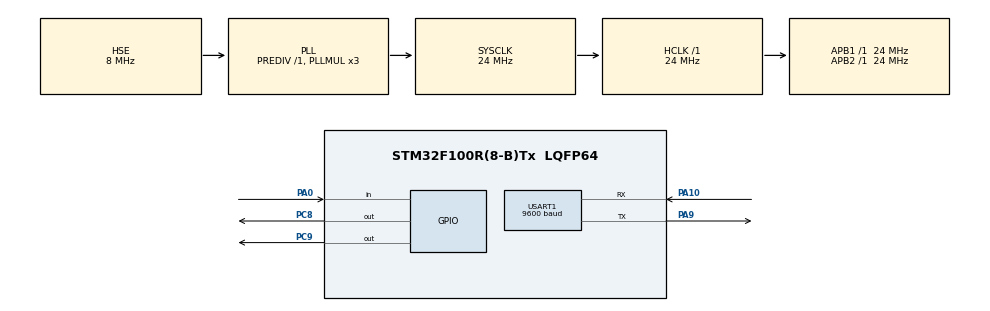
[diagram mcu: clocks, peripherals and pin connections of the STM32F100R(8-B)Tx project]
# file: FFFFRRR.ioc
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Dma.Request0=USART1_RX
Dma.Request1=USART1_TX
Dma.USART1_RX.0.Direction=DMA_PERIPH_TO_MEMORY
Dma.USART1_RX.0.Instance=DMA1_Channel5
Dma.USART1_RX.0.MemDataAlignment=DMA_MDATAALIGN_BYTE
Dma.USART1_RX.0.MemInc=DMA_MINC_ENABLE
Dma.USART1_RX.0.Mode=DMA_CIRCULAR
Dma.USART1_RX.0.PeriphDataAlignment=DMA_PDATAALIGN_BYTE
Dma.USART1_RX.0.PeriphInc=DMA_PINC_DISABLE
Dma.USART1_RX.0.Priority=DMA_PRIORITY_VERY_HIGH
Dma.USART1_TX.1.Direction=DMA_MEMORY_TO_PERIPH
Dma.USART1_TX.1.Instance=DMA1_Channel4
Dma.USART1_TX.1.MemDataAlignment=DMA_MDATAALIGN_BYTE
Dma.USART1_TX.1.MemInc=DMA_MINC_ENABLE
Dma.USART1_TX.1.Mode=DMA_NORMAL
Dma.USART1_TX.1.PeriphDataAlignment=DMA_PDATAALIGN_BYTE
Dma.USART1_TX.1.PeriphInc=DMA_PINC_DISABLE
Dma.USART1_TX.1.Priority=DMA_PRIORITY_MEDIUM
FREERTOS.HEAP_NUMBER=1
FREERTOS.MEMORY_ALLOCATION=0
FREERTOS.Tasks01=LCDPrint,0,128,StartLCDPrint,Default,NULL,Dynamic,NULL,NULL;UART_DMAParser,-2,128,StartUART_DMAParser,Default,NULL,Dynamic,NULL,NULL;NMEAParser,0,128,StartNMEAParser,Default,NULL,Dynamic,NULL,NULL
FREERTOS.configGENERATE_RUN_TIME_STATS=1
FREERTOS.configUSE_STATS_FORMATTING_FUNCTIONS=1
FREERTOS.configUSE_TRACE_FACILITY=1
Mcu.Family=STM32F1
Mcu.Name=STM32F100R(8-B)Tx
Mcu.Package=LQFP64
NVIC.DMA1_Channel4_IRQn=true\:5\:0\:false\:false\:true\:true\:false\:true
NVIC.DMA1_Channel5_IRQn=true\:5\:0\:false\:false\:true\:true\:false\:true
NVIC.PriorityGroup=NVIC_PRIORITYGROUP_4
NVIC.TIM7_IRQn=true\:0\:0\:false\:false\:true\:false\:false\:true
NVIC.TimeBase=TIM7_IRQn
NVIC.TimeBaseIP=TIM7
NVIC.USART1_IRQn=true\:5\:0\:false\:false\:true\:true\:true\:true
PA0-WKUP.Signal=GPIO_Input
PA10.Mode=Asynchronous
PA10.Signal=USART1_RX
PA13.Mode=Serial_Wire
PA13.Signal=SYS_JTMS-SWDIO
PA14.Mode=Serial_Wire
PA14.Signal=SYS_JTCK-SWCLK
PA9.Mode=Asynchronous
PA9.Signal=USART1_TX
PC8.GPIO_Speed=GPIO_SPEED_FREQ_HIGH
PC8.Signal=GPIO_Output
PC9.GPIO_Speed=GPIO_SPEED_FREQ_HIGH
PC9.Signal=GPIO_Output
PD0-OSC_IN.Mode=HSE-External-Oscillator
PD0-OSC_IN.Signal=RCC_OSC_IN
PD1-OSC_OUT.Mode=HSE-External-Oscillator
PD1-OSC_OUT.Signal=RCC_OSC_OUT
ProjectManager.HeapSize=0x200
ProjectManager.StackSize=0x400
ProjectManager.TargetToolchain=STM32CubeIDE
RCC.AHBFreq_Value=24000000
RCC.APB1Freq_Value=24000000
RCC.APB1TimFreq_Value=24000000
RCC.APB2Freq_Value=24000000
RCC.APB2TimFreq_Value=24000000
RCC.HCLKFreq_Value=24000000
RCC.PLLMUL=RCC_PLL_MUL3
RCC.PLLSource=RCC_PLLSOURCE_HSE
RCC.SYSCLKFreq_VALUE=24000000
RCC.SYSCLKSource=RCC_SYSCLKSOURCE_PLLCLK
USART1.BaudRate=9600
USART1.VirtualMode=VM_ASYNC
VP_FREERTOS_VS_CMSIS_V1.Mode=CMSIS_V1
VP_SYS_VS_tim7.Mode=TIM7
board=custom

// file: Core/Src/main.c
/* USER CODE BEGIN Header */
/**
 ******************************************************************************
 * @file           : main.c
 * @brief          : Main program body
 ******************************************************************************
 * @attention
 *
 * <h2><center>&copy; Copyright (c) 2020 STMicroelectronics.
 * All rights reserved.</center></h2>
 *
 * This software component is licensed by ST under BSD 3-Clause license,
 * the "License"; You may not use this file except in compliance with the
 * License. You may obtain a copy of the License at:
 *                        opensource.org/licenses/BSD-3-Clause
 *
 ******************************************************************************
 */
/* USER CODE END Header */
#include "main.h"
#include "cmsis_os.h"

/* USER CODE BEGIN Includes */
#include "LCD.h"
/* USER CODE END Includes */

/* USER CODE BEGIN PD */
#define RX_BUFF_SIZE 255

#define UART_DMA_BUFFER_SIZE 128
#define PARSER_MESSAGE_LIST_SIZE 2
#define PARSER_MESSAGE_SIZE 128
/* USER CODE END PD */

UART_HandleTypeDef huart1;
DMA_HandleTypeDef hdma_usart1_rx;
DMA_HandleTypeDef hdma_usart1_tx;

osThreadId LCDPrintHandle;
osThreadId UART_DMAParserHandle;
osThreadId NMEAParserHandle;
/* USER CODE BEGIN PV */
static uint8_t page = 0;

static uint8_t buffer[UART_DMA_BUFFER_SIZE];
static uint8_t buffer_msg[PARSER_MESSAGE_SIZE];
static uint8_t msg_list[PARSER_MESSAGE_LIST_SIZE][PARSER_MESSAGE_SIZE];

char RxBuffer[RX_BUFF_SIZE];
int test = 0;

char Time[12] = ""; //время
char Status[2] = ""; //валидность
char SLatitude[16] = "";  //Латитуда
char NS[3] = "";                          //
char SLongitude[12] = "";         //Лонгитуда
char EW[3] = "";                          //
char CourseTrue[10] = "";                 // курс
char Data[12] = "";                               //Дата
char SatCount[4] = "";                    //используемых спутников
char AltitudaMSL[12] = "";            //высота
char ViewSat[4];   //
char COG[8] = "";                 //
char COGstat[4] = "";             //
char Speed[8] = "";                       //скорость
char SpeedAlt[8] = "";    //
char UNUSED[32] = "";                //мусорка, тут все данные, которые не нужны
char Knot[8] = "";
char PositionMode[3] = "";

char *const RMC[] = { Time, Status, SLatitude, NS, SLongitude, EW, Speed,
		CourseTrue, Data, UNUSED, UNUSED, PositionMode };

char *const GGA[] = { UNUSED, UNUSED, UNUSED, UNUSED, UNUSED, UNUSED, SatCount,
		UNUSED, AltitudaMSL, UNUSED, UNUSED, UNUSED, UNUSED, UNUSED, UNUSED,
		UNUSED };

char *const GSV[] = { UNUSED, UNUSED, ViewSat, UNUSED, UNUSED, UNUSED, UNUSED,
		UNUSED, UNUSED, UNUSED, UNUSED, UNUSED, UNUSED, UNUSED, UNUSED, UNUSED,
		UNUSED, UNUSED, UNUSED, UNUSED, UNUSED };

char *const VTG[] = { COG, COGstat, UNUSED, UNUSED, Knot, UNUSED, Speed, UNUSED,
		UNUSED, UNUSED };

unsigned char GLONAS_COUNT = 0;
unsigned char GPS_COUNT = 0;
volatile char DataDone = 0;
unsigned char DataValid = 0;
/* USER CODE END PV */

void SystemClock_Config(void);
static void MX_GPIO_Init(void);
static void MX_DMA_Init(void);
static void MX_USART1_UART_Init(void);
void StartLCDPrint(void const *argument);
void StartUART_DMAParser(void const *argument);
void StartNMEAParser(void const *argument);

int main(void) {

	/* MCU Configuration--------------------------------------------------------*/

	/* Reset of all peripherals, Initializes the Flash interface and the Systick. */
	HAL_Init();

	/* USER CODE BEGIN Init */
	displaySPI2_Init();
	display_Init();
	display_light_on();
	display_clear();

	/* USER CODE END Init */

	/* Configure the system clock */
	SystemClock_Config();

	/* Initialize all configured peripherals */
	MX_GPIO_Init();
	MX_DMA_Init();
	MX_USART1_UART_Init();
	/* USER CODE BEGIN 2 */
	HAL_Delay(2000);

	HAL_UART_Transmit(&huart1,
			"$PMTK314,0,1,0,0,0,0,0,0,0,0,0,0,0,0,0,0,0,0,0*29\r\n", 51, 100);
	HAL_Delay(500);

//	HAL_UART_Receive_DMA(&huart1, answer, 17);
//	if (strncmp(answer, "$PMTK001,314,3*36", 17) == 0){
//		GPIOC->ODR ^= GPIO_ODR_ODR9;
//	}

	HAL_UART_Transmit(&huart1, "$PMTK102*31\r\n", 13, 30);
	HAL_Delay(500);

	printstring_at("No signal", 10, 2);

	/* USER CODE END 2 */

	/* Create the thread(s) */
	/* definition and creation of LCDPrint */
	osThreadDef(LCDPrint, StartLCDPrint, osPriorityNormal, 0, 128);
	LCDPrintHandle = osThreadCreate(osThread(LCDPrint), NULL);

	/* definition and creation of UART_DMAParser */
	osThreadDef(UART_DMAParser, StartUART_DMAParser, osPriorityLow, 0, 128);
	UART_DMAParserHandle = osThreadCreate(osThread(UART_DMAParser), NULL);

	/* definition and creation of NMEAParser */
	osThreadDef(NMEAParser, StartNMEAParser, osPriorityNormal, 0, 128);
	NMEAParserHandle = osThreadCreate(osThread(NMEAParser), NULL);

	/* Start scheduler */
	osKernelStart();

	/* We should never get here as control is now taken by the scheduler */
	/* Infinite loop */
	while (1) {

	}
}

void SystemClock_Config(void) {
	RCC_OscInitTypeDef RCC_OscInitStruct = { 0 };
	RCC_ClkInitTypeDef RCC_ClkInitStruct = { 0 };

	/** Initializes the RCC Oscillators according to the specified parameters
	 * in the RCC_OscInitTypeDef structure.
	 */
	RCC_OscInitStruct.OscillatorType = RCC_OSCILLATORTYPE_HSE;
	RCC_OscInitStruct.HSEState = RCC_HSE_ON;
	RCC_OscInitStruct.HSEPredivValue = RCC_HSE_PREDIV_DIV1;
	RCC_OscInitStruct.PLL.PLLState = RCC_PLL_ON;
	RCC_OscInitStruct.PLL.PLLSource = RCC_PLLSOURCE_HSE;
	RCC_OscInitStruct.PLL.PLLMUL = RCC_PLL_MUL3;
	if (HAL_RCC_OscConfig(&RCC_OscInitStruct) != HAL_OK) {
		Error_Handler();
	}
	/** Initializes the CPU, AHB and APB buses clocks
	 */
	RCC_ClkInitStruct.ClockType = RCC_CLOCKTYPE_HCLK | RCC_CLOCKTYPE_SYSCLK
			| RCC_CLOCKTYPE_PCLK1 | RCC_CLOCKTYPE_PCLK2;
	RCC_ClkInitStruct.SYSCLKSource = RCC_SYSCLKSOURCE_PLLCLK;
	RCC_ClkInitStruct.AHBCLKDivider = RCC_SYSCLK_DIV1;
	RCC_ClkInitStruct.APB1CLKDivider = RCC_HCLK_DIV1;
	RCC_ClkInitStruct.APB2CLKDivider = RCC_HCLK_DIV1;

	if (HAL_RCC_ClockConfig(&RCC_ClkInitStruct, FLASH_LATENCY_0) != HAL_OK) {
		Error_Handler();
	}
}

static void MX_USART1_UART_Init(void) {

	huart1.Instance = USART1;
	huart1.Init.BaudRate = 9600;
	huart1.Init.WordLength = UART_WORDLENGTH_8B;
	huart1.Init.StopBits = UART_STOPBITS_1;
	huart1.Init.Parity = UART_PARITY_NONE;
	huart1.Init.Mode = UART_MODE_TX_RX;
	huart1.Init.HwFlowCtl = UART_HWCONTROL_NONE;
	huart1.Init.OverSampling = UART_OVERSAMPLING_16;
	if (HAL_UART_Init(&huart1) != HAL_OK) {
		Error_Handler();
	}

}

static void MX_DMA_Init(void) {

	/* DMA controller clock enable */
	__HAL_RCC_DMA1_CLK_ENABLE();

	/* DMA interrupt init */
	/* DMA1_Channel4_IRQn interrupt configuration */
	HAL_NVIC_SetPriority(DMA1_Channel4_IRQn, 5, 0);
	HAL_NVIC_EnableIRQ(DMA1_Channel4_IRQn);
	/* DMA1_Channel5_IRQn interrupt configuration */
	HAL_NVIC_SetPriority(DMA1_Channel5_IRQn, 5, 0);
	HAL_NVIC_EnableIRQ(DMA1_Channel5_IRQn);

}

static void MX_GPIO_Init(void) {
	GPIO_InitTypeDef GPIO_InitStruct = { 0 };

	/* GPIO Ports Clock Enable */
	__HAL_RCC_GPIOD_CLK_ENABLE();
	__HAL_RCC_GPIOA_CLK_ENABLE();
	__HAL_RCC_GPIOC_CLK_ENABLE();

	/*Configure GPIO pin Output Level */
	HAL_GPIO_WritePin(GPIOC, GPIO_PIN_8 | GPIO_PIN_9, GPIO_PIN_RESET);

	/*Configure GPIO pin : PA0 */
	GPIO_InitStruct.Pin = GPIO_PIN_0;
	GPIO_InitStruct.Mode = GPIO_MODE_INPUT;
	GPIO_InitStruct.Pull = GPIO_NOPULL;
	HAL_GPIO_Init(GPIOA, &GPIO_InitStruct);

	/*Configure GPIO pins : PC8 PC9 */
	GPIO_InitStruct.Pin = GPIO_PIN_8 | GPIO_PIN_9;
	GPIO_InitStruct.Mode = GPIO_MODE_OUTPUT_PP;
	GPIO_InitStruct.Pull = GPIO_NOPULL;
	GPIO_InitStruct.Speed = GPIO_SPEED_FREQ_HIGH;
	HAL_GPIO_Init(GPIOC, &GPIO_InitStruct);

}

/* USER CODE BEGIN 4 */
void Parser(unsigned char data) {
	static unsigned char ByteCount = 0xff;
	static unsigned int MsgType;
	static char *MsgTxt = (char*) &MsgType;
	static unsigned char ComaPoint = 0xff;
	static unsigned char CharPoint = 0;
	if (data == '$') {
		ByteCount = 0;
		ComaPoint = 0xff;
		MsgTxt = (char*) &MsgType;
		return;
	} //ждем начала стрки
	if (ByteCount == 0xff)
		return;                                                               //
	ByteCount++;
	if (ByteCount <= 1)
		return;                                                         //
	if (ByteCount < 6 && ByteCount > 1)            //берем 4 символа заголовка
			{
		*MsgTxt = data; //и делаем из него число
		MsgTxt++;
		return;
	}
//
	switch (MsgType) {
	case 0x434D5250:                             //GPRMC
	case 0x434D524E:                             //GNRMC
		if (data == ',') {
			ComaPoint++;
			CharPoint = 0;
			RMC[ComaPoint][0] = 0;
			return;
		}
		if (data == '*') {
			MsgType = 0;
			return;
		}
		RMC[ComaPoint][CharPoint++] = data;
		RMC[ComaPoint][CharPoint] = 0;
		return;
	case 0x41474750:                             //PGGA
	case 0x4147474e:                             //NGGA
		if (data == ',') {
			ComaPoint++;
			CharPoint = 0;
			GGA[ComaPoint][0] = 0;
			return;
		}
		if (data == '*') {
			MsgType = 0;
			return;
		}
		GGA[ComaPoint][CharPoint++] = data;
		GGA[ComaPoint][CharPoint] = 0;
		return;
	case 0x47545650:             //PVTG
		if (data == ',') {
			ComaPoint++;
			CharPoint = 0;
			VTG[ComaPoint][0] = 0;
			return;
		}
		if (data == '*') {
			return;
		}
		VTG[ComaPoint][CharPoint++] = data;
		VTG[ComaPoint][CharPoint] = 0;
		return;
	case 0x4754564e:             //NVTG
		if (data == ',') {
			ComaPoint++;
			CharPoint = 0;
			VTG[ComaPoint][0] = 0;
			return;
		}
		if (data == '*') {
			return;
		}
		VTG[ComaPoint][CharPoint++] = data;
		VTG[ComaPoint][CharPoint] = 0;
		return;
	case 0x56534750:             //PGSV
		if (data == ',') {
			ComaPoint++;
			CharPoint = 0;
			GSV[ComaPoint][0] = 0;
			return;
		}
		if (data == '*') {
//			GPS_COUNT = AsciiToInt(ViewSat);
			MsgType = 0;
			return;
		}
		GSV[ComaPoint][CharPoint++] = data;
		GSV[ComaPoint][CharPoint] = 0;
		return;
	case 0x5653474c:             //LGSV
		if (data == ',') {
			ComaPoint++;
			CharPoint = 0;
			GSV[ComaPoint][0] = 0;
			return;
		}
		if (data == '*') {
//			GLONAS_COUNT = AsciiToInt(ViewSat);
			MsgType = 0;
			return;
		}
		GSV[ComaPoint][CharPoint++] = data;
		GSV[ComaPoint][CharPoint] = 0;
		return;
	default:
		ByteCount = 0xff;
		break;
	}
	ByteCount = 0xff;
}

/* USER CODE END 4 */

void StartLCDPrint(void const *argument) {
	/* USER CODE BEGIN 5 */
	/* Infinite loop */
	for (;;) {
//		GPIOC->ODR ^= GPIO_ODR_ODR9;
//		HAL_UART_Receive_DMA(&huart1, buffer, UART_DMA_BUFFER_SIZE);
		test++;
		display_clear();

		char text[] = "";
		itoa(test, text, 10);

		printstring_at(Time, 1, 1);
		osDelay(259);
	}
	/* USER CODE END 5 */
}

void StartUART_DMAParser(void const *argument) {
	/* USER CODE BEGIN StartUART_DMAParser */

	size_t dma_head = 0;
	size_t dma_tail = 0;
	size_t cur_msg_sz = 0;
	size_t cur_msg = 0;
	uint8_t found = 0;
	uint8_t start = 0;

	HAL_UART_Receive_DMA(&huart1, buffer, UART_DMA_BUFFER_SIZE);

	for (;;) {
		GPIOC->ODR ^= GPIO_ODR_ODR9;
		do {
			__disable_irq();
			dma_tail = UART_DMA_BUFFER_SIZE - huart1.hdmarx->Instance->CNDTR;
			__enable_irq();

			if (dma_tail != dma_head) {
				if (dma_head < dma_tail) {
					for (register size_t i = dma_head; i < dma_tail; i++) {
						if (start == 0 && buffer[i] == '$') {
							start = 1;
						}

						found = (start == 1 && buffer[i] == '\r') ? 1 :
								(start == 1 && buffer[i] == '\n') ? 2 : 0;

						if (start == 1) {
							buffer_msg[cur_msg_sz++] = buffer[i];
						}

						if (found == 2) {
							if (strncmp(buffer_msg, "$GPRMC", 6) == 0) {
								cur_msg = 0;
							}
							memset(msg_list[cur_msg], 0, PARSER_MESSAGE_SIZE);
							strncpy(msg_list[cur_msg], buffer_msg,
									strlen(buffer_msg));
							memset(buffer_msg, 0, PARSER_MESSAGE_SIZE);

							cur_msg =
									cur_msg == PARSER_MESSAGE_LIST_SIZE - 1 ?
											0 : cur_msg + 1;

							cur_msg_sz = 0;
							start = 0;
						}
					}
				} else {
					for (register size_t i = dma_head; i < UART_DMA_BUFFER_SIZE;
							i++) {
						if (start == 0 && buffer[i] == '$') {
							start = 1;
						}

						found = (start == 1 && buffer[i] == '\r') ? 1 :
								(start == 1 && buffer[i] == '\n') ? 2 : 0;

						if (start == 1) {
							buffer_msg[cur_msg_sz++] = buffer[i];
						}

						if (found == 2) {
							if (strncmp(buffer_msg, "$GPRMC", 6) == 0) {
								cur_msg = 0;
							}
							memset(msg_list[cur_msg], 0, PARSER_MESSAGE_SIZE);
							strncpy(msg_list[cur_msg], buffer_msg,
									strlen(buffer_msg));
							memset(buffer_msg, 0, PARSER_MESSAGE_SIZE);

							cur_msg =
									cur_msg == PARSER_MESSAGE_LIST_SIZE - 1 ?
											0 : cur_msg + 1;

							cur_msg_sz = 0;
							start = 0;
						}
					}
					for (register size_t i = 0; i < dma_tail; i++) {
						if (start == 0 && buffer[i] == '$') {
							start = 1;
						}

						found = (start == 1 && buffer[i] == '\r') ? 1 :
								(start == 1 && buffer[i] == '\n') ? 2 : 0;

						if (start == 1) {
							buffer_msg[cur_msg_sz++] = buffer[i];
						}

						if (found == 2) {
							if (strncmp(buffer_msg, "$GPRMC", 6) == 0) {
								cur_msg = 0;
							}
							memset(msg_list[cur_msg], 0, PARSER_MESSAGE_SIZE);
							strncpy(msg_list[cur_msg], buffer_msg,
									strlen(buffer_msg));
							memset(buffer_msg, 0, PARSER_MESSAGE_SIZE);

							cur_msg =
									cur_msg == PARSER_MESSAGE_LIST_SIZE - 1 ?
											0 : cur_msg + 1;

							cur_msg_sz = 0;
							start = 0;
						}
					}
				}
				dma_head = dma_tail;
			}
		} while (dma_head
				!= (UART_DMA_BUFFER_SIZE - huart1.hdmarx->Instance->CNDTR));
		osDelay(500); // this should be the minimum time difference between each frame
	}
	/* USER CODE END StartUART_DMAParser */
}

void StartNMEAParser(void const *argument) {
	/* USER CODE BEGIN StartNMEAParser */
	/* Infinite loop */
	for (;;) {
		for (uint8_t i = 0; i < strlen(msg_list[0]); i++) {
			Parser(msg_list[0][i]);
		}
		osDelay(150);
	}
	/* USER CODE END StartNMEAParser */
}

void HAL_TIM_PeriodElapsedCallback(TIM_HandleTypeDef *htim) {
	if (htim->Instance == TIM7) {
		HAL_IncTick();
	}
}

void Error_Handler(void) {
	__disable_irq();
	while (1) {
	}
}

/************************ (C) COPYRIGHT STMicroelectronics *****END OF FILE****/
